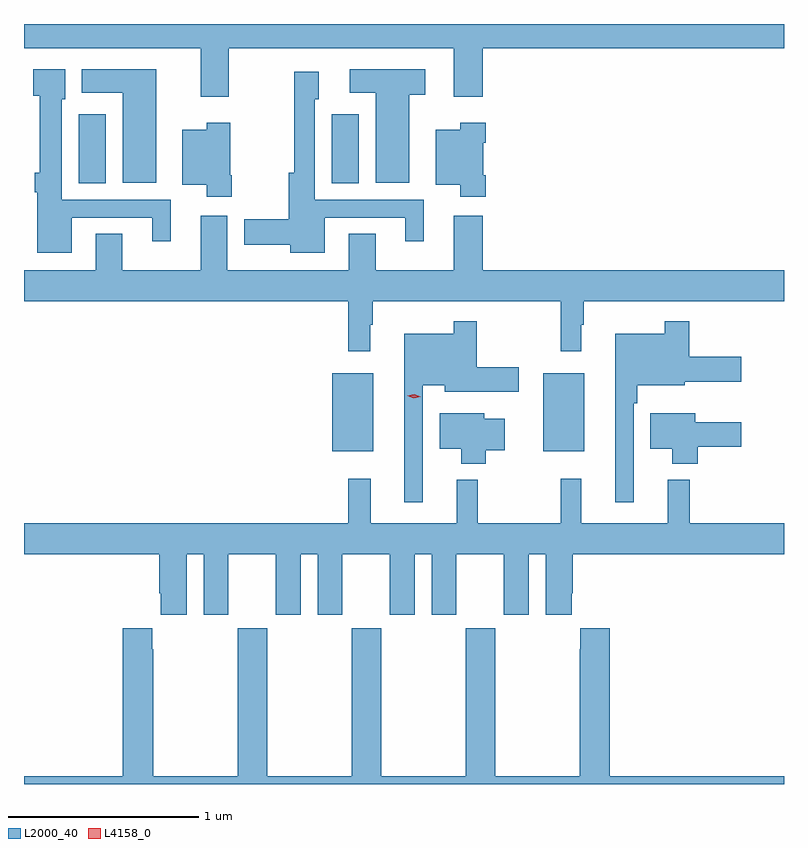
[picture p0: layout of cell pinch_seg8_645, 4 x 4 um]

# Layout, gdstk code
import gdstk
lib = gdstk.Library(unit=1e-6, precision=1e-09)
def R(c, l, rs):  # rectangles x0, y0, x1, y1
    for r in rs: c.add(gdstk.rectangle(r[:2], r[2:], *l))
def P(c, l, *ps):  # polygons
    for p in ps: c.add(gdstk.Polygon(p, *l))
L2000_40 = (2000, 40)
L4158_0 = (4158, 0)

pinch_seg8_645 = lib.new_cell('pinch_seg8_645')
R(pinch_seg8_645, L2000_40, [(262.814,1086.407,263.029,1086.817), (263.924,1086.407,264.139,1086.817), (261.479,1087.816,261.622,1088.179), (262.811,1087.816,262.954,1088.179)])
P(pinch_seg8_645, L2000_40, [(262.269,1088.528),(263.453,1088.528),(263.453,1088.271),(263.606,1088.271),(263.606,1088.528),(265.191,1088.528),(265.191,1088.655),(261.191,1088.655),(261.191,1088.528),(262.121,1088.528),(262.121,1088.271),(262.269,1088.271)],
  [(263.218,1088.282),(263.302,1088.282),(263.302,1088.416),(262.905,1088.416),(262.905,1088.294),(263.042,1088.294),(263.042,1087.82),(263.218,1087.82)],
  [(261.442,1087.635),(261.866,1087.635),(261.866,1087.512),(261.964,1087.512),(261.964,1087.731),(261.39,1087.731),(261.39,1088.259),(261.409,1088.259),(261.409,1088.416),(261.24,1088.416),(261.24,1088.278),(261.274,1088.278),(261.274,1087.873),(261.248,1087.873),(261.248,1087.769),(261.26,1087.769),(261.26,1087.451),(261.442,1087.451)],
  [(261.886,1088.416),(261.494,1088.416),(261.494,1088.294),(261.71,1088.294),(261.71,1087.82),(261.886,1087.82)],
  [(262.774,1087.635),(263.198,1087.635),(263.198,1087.512),(263.296,1087.512),(263.296,1087.731),(262.722,1087.731),(262.722,1088.259),(262.741,1088.259),(262.741,1088.404),(262.614,1088.404),(262.614,1087.873),(262.585,1087.873),(262.585,1087.628),(262.35,1087.628),(262.35,1087.493),(262.592,1087.493),(262.592,1087.451),(262.774,1087.451)],
  [(262.284,1087.858),(262.276,1087.858),(262.276,1088.134),(262.154,1088.134),(262.154,1088.098),(262.025,1088.098),(262.025,1087.808),(262.154,1087.808),(262.154,1087.746),(262.284,1087.746)],
  [(263.621,1087.858),(263.608,1087.858),(263.608,1088.03),(263.621,1088.03),(263.621,1088.134),(263.486,1088.134),(263.486,1088.098),(263.357,1088.098),(263.357,1087.808),(263.486,1087.808),(263.486,1087.746),(263.621,1087.746)],
  [(263.014,1087.073),(263.026,1087.073),(263.026,1087.196),(264.015,1087.196),(264.015,1086.933),(264.124,1086.933),(264.124,1087.073),(264.136,1087.073),(264.136,1087.196),(265.191,1087.196),(265.191,1087.36),(263.606,1087.36),(263.606,1087.645),(263.453,1087.645),(263.453,1087.36),(263.041,1087.36),(263.041,1087.55),(262.901,1087.55),(262.901,1087.36),(262.261,1087.36),(262.261,1087.645),(262.121,1087.645),(262.121,1087.36),(261.709,1087.36),(261.709,1087.55),(261.569,1087.55),(261.569,1087.36),(261.191,1087.36),(261.191,1087.196),(262.897,1087.196),(262.897,1086.933),(263.014,1086.933)],
  [(263.289,1086.755),(263.405,1086.755),(263.405,1086.719),(263.794,1086.719),(263.794,1086.849),(263.575,1086.849),(263.575,1087.09),(263.454,1087.09),(263.454,1087.024),(263.192,1087.024),(263.192,1086.138),(263.289,1086.138)],
  [(264.399,1086.659),(264.419,1086.659),(264.419,1086.755),(264.669,1086.755),(264.669,1086.773),(264.967,1086.773),(264.967,1086.903),(264.692,1086.903),(264.692,1087.09),(264.564,1087.09),(264.564,1087.024),(264.302,1087.024),(264.302,1086.138),(264.399,1086.138)],
  [(264.737,1086.43),(264.967,1086.43),(264.967,1086.559),(264.724,1086.559),(264.724,1086.607),(264.488,1086.607),(264.488,1086.419),(264.602,1086.419),(264.602,1086.341),(264.737,1086.341)],
  [(263.622,1086.412),(263.722,1086.412),(263.722,1086.577),(263.614,1086.577),(263.614,1086.607),(263.378,1086.607),(263.378,1086.419),(263.492,1086.419),(263.492,1086.341),(263.622,1086.341)],
  [(262.048,1085.864),(262.136,1085.864),(262.136,1085.547),(262.267,1085.547),(262.267,1085.864),(262.517,1085.864),(262.517,1085.547),(262.648,1085.547),(262.648,1085.864),(262.736,1085.864),(262.736,1085.547),(262.867,1085.547),(262.867,1085.864),(263.117,1085.864),(263.117,1085.547),(263.248,1085.547),(263.248,1085.864),(263.336,1085.864),(263.336,1085.547),(263.467,1085.547),(263.467,1085.864),(263.717,1085.864),(263.717,1085.547),(263.848,1085.547),(263.848,1085.864),(263.936,1085.864),(263.936,1085.547),(264.073,1085.547),(264.073,1085.659),(264.08,1085.659),(264.08,1085.864),(265.191,1085.864),(265.191,1086.028),(264.695,1086.028),(264.695,1086.256),(264.578,1086.256),(264.578,1086.028),(264.125,1086.028),(264.125,1086.262),(264.015,1086.262),(264.015,1086.028),(263.578,1086.028),(263.578,1086.256),(263.468,1086.256),(263.468,1086.028),(263.015,1086.028),(263.015,1086.262),(262.897,1086.262),(262.897,1086.028),(261.191,1086.028),(261.191,1085.864),(261.904,1085.864),(261.904,1085.659),(261.911,1085.659),(261.911,1085.547),(262.048,1085.547)],
  [(265.191,1084.696),(264.275,1084.696),(264.275,1085.476),(264.119,1085.476),(264.119,1085.363),(264.115,1085.363),(264.115,1084.696),(263.67,1084.696),(263.67,1085.476),(263.515,1085.476),(263.515,1084.696),(263.07,1084.696),(263.07,1085.476),(262.915,1085.476),(262.915,1084.696),(262.47,1084.696),(262.47,1085.476),(262.315,1085.476),(262.315,1084.696),(261.87,1084.696),(261.87,1085.363),(261.865,1085.363),(261.865,1085.476),(261.71,1085.476),(261.71,1084.696),(261.191,1084.696),(261.191,1084.655),(265.191,1084.655)])
P(pinch_seg8_645, L4158_0, [(263.243,1086.686),(263.208,1086.698),(263.208,1086.698),(263.208,1086.698),(263.244,1086.706),(263.279,1086.693),(263.279,1086.693),(263.279,1086.693)])

lib.write_gds('pinch_seg8_645.gds')
